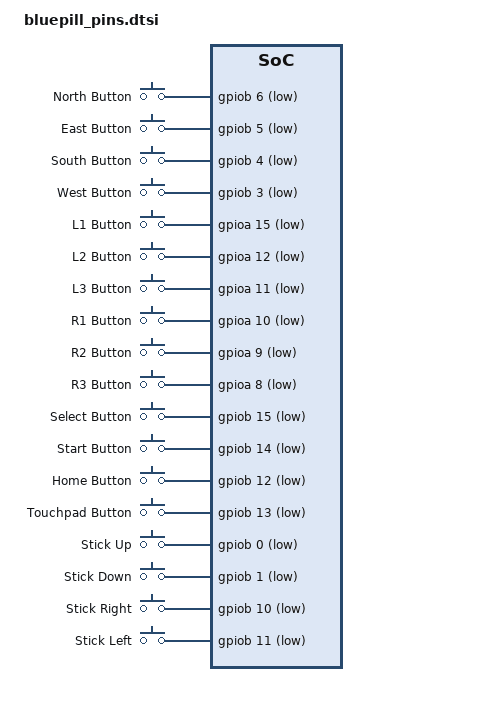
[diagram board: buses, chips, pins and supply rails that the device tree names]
/ {
  gpio_keys {
    compatible = "gpio-keys";
    button_north {
      gpios = <&gpiob 6 (GPIO_PULL_UP | GPIO_ACTIVE_LOW)>;
      label = "North Button";
    };

    button_east {
      gpios = <&gpiob 5 (GPIO_PULL_UP | GPIO_ACTIVE_LOW)>;
      label = "East Button";
    };

    button_south {
      gpios = <&gpiob 4 (GPIO_PULL_UP | GPIO_ACTIVE_LOW)>;
      label = "South Button";
    };

    button_west {
      gpios = <&gpiob 3 (GPIO_PULL_UP | GPIO_ACTIVE_LOW)>;
      label = "West Button";
    };

    button_l1 {
      gpios = <&gpioa 15 (GPIO_PULL_UP | GPIO_ACTIVE_LOW)>;
      label = "L1 Button";
    };

    button_l2 {
      gpios = <&gpioa 12 (GPIO_PULL_UP | GPIO_ACTIVE_LOW)>;
      label = "L2 Button";
    };

    button_l3 {
      gpios = <&gpioa 11 (GPIO_PULL_UP | GPIO_ACTIVE_LOW)>;
      label = "L3 Button";
    };

    button_r1 {
      gpios = <&gpioa 10 (GPIO_PULL_UP | GPIO_ACTIVE_LOW)>;
      label = "R1 Button";
    };

    button_r2 {
      gpios = <&gpioa 9 (GPIO_PULL_UP | GPIO_ACTIVE_LOW)>;
      label = "R2 Button";
    };

    button_r3 {
      gpios = <&gpioa 8 (GPIO_PULL_UP | GPIO_ACTIVE_LOW)>;
      label = "R3 Button";
    };

    button_select {
      gpios = <&gpiob 15 (GPIO_PULL_UP | GPIO_ACTIVE_LOW)>;
      label = "Select Button";
    };

    button_start {
      gpios = <&gpiob 14 (GPIO_PULL_UP | GPIO_ACTIVE_LOW)>;
      label = "Start Button";
    };

    button_home {
      gpios = <&gpiob 12 (GPIO_PULL_UP | GPIO_ACTIVE_LOW)>;
      label = "Home Button";
    };

    button_touchpad {
      gpios = <&gpiob 13 (GPIO_PULL_UP | GPIO_ACTIVE_LOW)>;
      label = "Touchpad Button";
    };

    stick_up {
      gpios = <&gpiob 0 (GPIO_PULL_UP | GPIO_ACTIVE_LOW)>;
      label = "Stick Up";
    };

    stick_down {
      gpios = <&gpiob 1 (GPIO_PULL_UP | GPIO_ACTIVE_LOW)>;
      label = "Stick Down";
    };

    stick_right {
      gpios = <&gpiob 10 (GPIO_PULL_UP | GPIO_ACTIVE_LOW)>;
      label = "Stick Right";
    };

    stick_left {
      gpios = <&gpiob 11 (GPIO_PULL_UP | GPIO_ACTIVE_LOW)>;
      label = "Stick Left";
    };
  };
};
